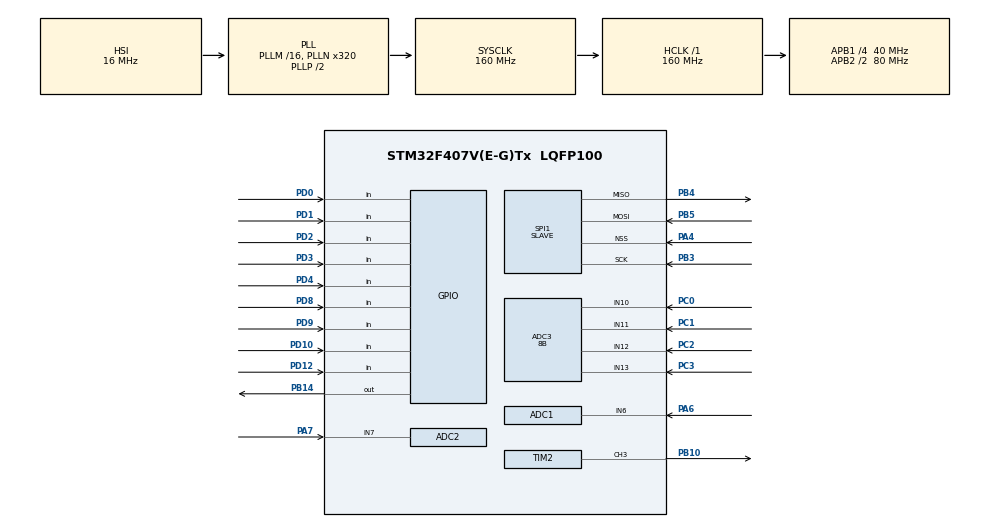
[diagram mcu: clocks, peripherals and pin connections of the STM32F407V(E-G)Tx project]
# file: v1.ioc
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ADC1.Channel-3\#ChannelRegularConversion=ADC_CHANNEL_6
ADC1.ContinuousConvMode=ENABLE
ADC1.EOCSelection=ADC_EOC_SEQ_CONV
ADC1.NbrOfConversionFlag=1
ADC1.Rank-3\#ChannelRegularConversion=1
ADC1.Resolution=ADC_RESOLUTION_8B
ADC1.SamplingTime-3\#ChannelRegularConversion=ADC_SAMPLETIME_3CYCLES
ADC1.master=1
ADC2.Channel-2\#ChannelRegularConversion=ADC_CHANNEL_7
ADC2.ContinuousConvMode=ENABLE
ADC2.EOCSelection=ADC_EOC_SEQ_CONV
ADC2.NbrOfConversionFlag=1
ADC2.Rank-2\#ChannelRegularConversion=1
ADC2.Resolution=ADC_RESOLUTION_8B
ADC2.SamplingTime-2\#ChannelRegularConversion=ADC_SAMPLETIME_3CYCLES
ADC3.Channel-0\#ChannelRegularConversion=ADC_CHANNEL_10
ADC3.Channel-1\#ChannelRegularConversion=ADC_CHANNEL_11
ADC3.Channel-2\#ChannelRegularConversion=ADC_CHANNEL_12
ADC3.Channel-3\#ChannelRegularConversion=ADC_CHANNEL_13
ADC3.ContinuousConvMode=ENABLE
ADC3.DMAContinuousRequests=ENABLE
ADC3.EnableAnalogWatchDog=false
ADC3.InjNumberOfConversion=0
ADC3.NbrOfConversion=4
ADC3.NbrOfConversionFlag=1
ADC3.Rank-0\#ChannelRegularConversion=1
ADC3.Rank-1\#ChannelRegularConversion=2
ADC3.Rank-2\#ChannelRegularConversion=3
ADC3.Rank-3\#ChannelRegularConversion=4
ADC3.Resolution=ADC_RESOLUTION_8B
ADC3.SamplingTime-0\#ChannelRegularConversion=ADC_SAMPLETIME_3CYCLES
ADC3.SamplingTime-1\#ChannelRegularConversion=ADC_SAMPLETIME_3CYCLES
ADC3.SamplingTime-2\#ChannelRegularConversion=ADC_SAMPLETIME_3CYCLES
ADC3.SamplingTime-3\#ChannelRegularConversion=ADC_SAMPLETIME_3CYCLES
ADC3.ScanConvMode=ENABLE
Dma.ADC3.0.Direction=DMA_PERIPH_TO_MEMORY
Dma.ADC3.0.FIFOMode=DMA_FIFOMODE_DISABLE
Dma.ADC3.0.Instance=DMA2_Stream0
Dma.ADC3.0.MemDataAlignment=DMA_MDATAALIGN_BYTE
Dma.ADC3.0.MemInc=DMA_MINC_ENABLE
Dma.ADC3.0.Mode=DMA_CIRCULAR
Dma.ADC3.0.PeriphDataAlignment=DMA_PDATAALIGN_BYTE
Dma.ADC3.0.PeriphInc=DMA_PINC_DISABLE
Dma.ADC3.0.Priority=DMA_PRIORITY_LOW
Dma.Request0=ADC3
Mcu.Family=STM32F4
Mcu.Name=STM32F407V(E-G)Tx
Mcu.Package=LQFP100
NVIC.PriorityGroup=NVIC_PRIORITYGROUP_4
NVIC.TIM2_IRQn=true\:0\:0\:false\:false\:true\:true\:true\:true
PA4.Mode=NSS_Signal_Hard_Input
PA4.Signal=SPI1_NSS
PA6.Signal=ADCx_IN6
PA7.Signal=ADCx_IN7
PB10.GPIO_ModeDefaultPP=GPIO_MODE_AF_PP
PB10.GPIO_PuPd=GPIO_NOPULL
PB10.GPIO_Speed=GPIO_SPEED_FREQ_VERY_HIGH
PB10.Signal=S_TIM2_CH3
PB14.GPIO_PuPd=GPIO_PULLDOWN
PB14.GPIO_Speed=GPIO_SPEED_FREQ_VERY_HIGH
PB14.Signal=GPIO_Output
PB3.GPIO_PuPd=GPIO_PULLDOWN
PB3.Mode=Full_Duplex_Slave
PB3.Signal=SPI1_SCK
PB4.GPIO_PuPd=GPIO_PULLUP
PB4.Mode=Full_Duplex_Slave
PB4.Signal=SPI1_MISO
PB5.GPIO_PuPd=GPIO_PULLDOWN
PB5.Mode=Full_Duplex_Slave
PB5.Signal=SPI1_MOSI
PC0.Signal=ADCx_IN10
PC1.Signal=ADCx_IN11
PC2.Signal=ADCx_IN12
PC3.Signal=ADCx_IN13
PD0.Signal=GPIO_Input
PD1.Signal=GPIO_Input
PD10.Signal=GPIO_Input
PD12.Signal=GPIO_Input
PD2.Signal=GPIO_Input
PD3.Signal=GPIO_Input
PD4.Signal=GPIO_Input
PD8.GPIO_PuPd=GPIO_NOPULL
PD8.Signal=GPIO_Input
PD9.Signal=GPIO_Input
ProjectManager.HeapSize=0x200
ProjectManager.StackSize=0x400
ProjectManager.TargetToolchain=STM32CubeIDE
RCC.48MHZClocksFreq_Value=80000000
RCC.AHBFreq_Value=160000000
RCC.APB1CLKDivider=RCC_HCLK_DIV4
RCC.APB1Freq_Value=40000000
RCC.APB1TimFreq_Value=80000000
RCC.APB2CLKDivider=RCC_HCLK_DIV2
RCC.APB2Freq_Value=80000000
RCC.APB2TimFreq_Value=160000000
RCC.CortexFreq_Value=160000000
RCC.HCLKFreq_Value=160000000
RCC.HSE_VALUE=25000000
RCC.HSI_VALUE=16000000
RCC.LSE_VALUE=32768
RCC.PLLN=320
RCC.SYSCLKFreq_VALUE=160000000
RCC.SYSCLKSource=RCC_SYSCLKSOURCE_PLLCLK
RCC.VCOOutputFreq_Value=320000000
SH.ADCx_IN10.0=ADC3_IN10,IN10
SH.ADCx_IN11.0=ADC3_IN11,IN11
SH.ADCx_IN12.0=ADC3_IN12,IN12
SH.ADCx_IN13.0=ADC3_IN13,IN13
SH.ADCx_IN6.0=ADC1_IN6,IN6
SH.ADCx_IN7.0=ADC2_IN7,IN7
SH.S_TIM2_CH3.0=TIM2_CH3,Output Compare3 CH3
SPI1.CLKPhase=SPI_PHASE_1EDGE
SPI1.CLKPolarity=SPI_POLARITY_LOW
SPI1.DataSize=SPI_DATASIZE_8BIT
SPI1.Direction=SPI_DIRECTION_2LINES
SPI1.Mode=SPI_MODE_SLAVE
SPI1.VirtualNSS=VM_NSSHARD
SPI1.VirtualType=VM_SLAVE
TIM1.AutoReloadPreload=TIM_AUTORELOAD_PRELOAD_DISABLE
TIM1.Period=59999
TIM1.Prescaler=640
TIM2.Channel-Output\ Compare3\ CH3=TIM_CHANNEL_3
TIM2.OCMode_3=TIM_OCMODE_TOGGLE
TIM2.Period=999
TIM2.Prescaler=80
VP_TIM1_VS_ClockSourceINT.Mode=Internal
VP_TIM2_VS_ClockSourceINT.Mode=Internal
board=custom

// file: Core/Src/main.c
/* USER CODE BEGIN Header */
/**
  ******************************************************************************
  * @file           : main.c
  * @brief          : Main program body
  ******************************************************************************
  * @attention
  *
  * Copyright (c) 2025 STMicroelectronics.
  * All rights reserved.
  *
  * This software is licensed under terms that can be found in the LICENSE file
  * in the root directory of this software component.
  * If no LICENSE file comes with this software, it is provided AS-IS.
  *
  ******************************************************************************
  */
/* USER CODE END Header */
#include "main.h"

ADC_HandleTypeDef hadc1;
ADC_HandleTypeDef hadc2;
ADC_HandleTypeDef hadc3;
DMA_HandleTypeDef hdma_adc3;

SPI_HandleTypeDef hspi1;

TIM_HandleTypeDef htim1;
TIM_HandleTypeDef htim2;

void SystemClock_Config(void);
static void MX_GPIO_Init(void);
static void MX_DMA_Init(void);
static void MX_SPI1_Init(void);
static void MX_ADC1_Init(void);
static void MX_ADC2_Init(void);
static void MX_TIM1_Init(void);
static void MX_TIM2_Init(void);
static void MX_ADC3_Init(void);

/* USER CODE BEGIN 0 */

#define SPI_BUFFER_SIZE 0x10000
#define SPI_SYNC_PERIOD 1024

#define SPI_BUFFER_POINTER_MASK 0xFFF0
#define SPI_DATA_SIZE 8

#define IDR_MASK_D ~((uint16_t)1 << 10)

// In SYNC_TEST_MODE the device sends sequential numbers via SPI
// instead of real readings to check SPI connections and post-processing algorithms
// at the receiver side.
// #define SYNC_TEST_MODE

// Ring buffer for SPI communication
volatile uint8_t SpiBuffer[SPI_BUFFER_SIZE];
volatile uint16_t SpiHead = 0;
volatile uint16_t SpiTail = 0;

uint16_t SpiSentCounter = 0;

uint16_t PrevCN = 0;

// Buffer for free-runnning DMA ADC readings
#define ADC3_CH_COUNT 4
volatile uint8_t ADC3Data[ADC3_CH_COUNT] = {0x11, 0x12, 0x13, 0x14};

void SPI1_IRQHandler(void)
{
  // Dumb read to avoid repeated interrupt (may be replaced with
  volatile uint8_t tmp = hspi1.Instance->DR;

  if(SpiHead == SpiTail) {
    // No data to send
    hspi1.Instance->DR = 0;
  } else {
    hspi1.Instance->DR = SpiBuffer[SpiTail++];
    SpiTail &= 0xFFFF;
  }
}

/* USER CODE END 0 */

int main(void)
{

  /* MCU Configuration--------------------------------------------------------*/

  /* Reset of all peripherals, Initializes the Flash interface and the Systick. */
  HAL_Init();

  /* Configure the system clock */
  SystemClock_Config();

  /* Initialize all configured peripherals */
  MX_GPIO_Init();
  MX_DMA_Init();
  MX_SPI1_Init();
  MX_ADC1_Init();
  MX_ADC2_Init();
  MX_TIM1_Init();
  MX_TIM2_Init();
  MX_ADC3_Init();
  /* USER CODE BEGIN 2 */

  //HAL_GPIO_WritePin(GPIOC, 0, 1);

  /* USER CODE END 2 */

  /* Infinite loop */
  /* USER CODE BEGIN WHILE */

  //__enable_irq();
  SET_BIT(hspi1.Instance->CR1, SPI_CR1_SPE);
  SET_BIT(hspi1.Instance->CR2, /*SPI_CR2_RXNEIE*/ SPI_CR2_TXEIE);
  hspi1.Instance->DR = 0;

  /* SPI1 interrupt Init */
  HAL_NVIC_SetPriority(SPI1_IRQn, 0, 0);
  HAL_NVIC_EnableIRQ(SPI1_IRQn);

  HAL_ADC_Start(&hadc1);
  HAL_ADC_Start(&hadc2);
  HAL_ADC_Start_DMA(&hadc3, (uint32_t*)ADC3Data, ADC3_CH_COUNT);

  HAL_TIM_Base_Start(&htim1);
  HAL_TIM_Base_Start(&htim2);
  HAL_TIM_OC_Start(&htim2, TIM_CHANNEL_3);

  //HAL_NVIC_DisableIRQ(DMA2_Stream0_IRQn);

  __enable_irq();

  uint16_t lastCNT = 0;

  uint16_t idrMask = 0xFFFF;
#ifdef SYNC_TEST_MODE
  uint16_t _tmp_cnt = 0;
#endif

  while (1)
  {
    // Buffered output
    uint16_t head = SpiHead;
    uint16_t tail = SpiTail & SPI_BUFFER_POINTER_MASK;

    uint16_t idrD = GPIOD->IDR;
    idrMask &= (idrD | IDR_MASK_D);

    if(
        ((head + SPI_DATA_SIZE) & 0xFFFF) == tail
        // Check free space for Sync packet
        || ((head + 2 * SPI_DATA_SIZE) & 0xFFFF) == tail
    ) {
      // Buffer overflow output signal (for the debug purposes)
      GPIOB->ODR ^= 0x4000;
    } else {
      uint16_t cnt = htim1.Instance->CNT;
      // cnt count period is 4us, so 4x12 = 48us sampling period
      if(cnt != lastCNT && (cnt % 12 == 0)) {
        idrD &= idrMask;

        if(idrMask != 0xFFFF) {
          //GPIOB->ODR ^= 0x4000;
        }

        lastCNT = cnt;
        SpiBuffer[head] = 0xF1;
#ifndef SYNC_TEST_MODE
        SpiBuffer[head + 1] = (idrD & 0x01) | ((idrD >> 7) & 0xFE);
        SpiBuffer[head + 2] = hadc2.Instance->DR;
        SpiBuffer[head + 3] = hadc1.Instance->DR;
        SpiBuffer[head + 4] = ADC3Data[0];
        SpiBuffer[head + 5] = ADC3Data[1];
        SpiBuffer[head + 6] = ADC3Data[2];
        SpiBuffer[head + 7] = ADC3Data[3];
#else
        SpiBuffer[head + 1] = _tmp_cnt >> 16;
        SpiBuffer[head + 2] = _tmp_cnt >> 8;
        SpiBuffer[head + 3] = _tmp_cnt;
        SpiBuffer[head + 4] = 0x00;
        SpiBuffer[head + 5] = _tmp_cnt >> 16;
        SpiBuffer[head + 6] = _tmp_cnt >> 8;
        SpiBuffer[head + 7] = _tmp_cnt;
        ++_tmp_cnt;
#endif
        head += SPI_DATA_SIZE;
        ++SpiSentCounter;

        if(SpiSentCounter == SPI_SYNC_PERIOD) {
          SpiSentCounter = 0;
          for(uint8_t i = 0; i < SPI_DATA_SIZE; ++i) {
        	  SpiBuffer[head + i] = 0x00;
          }
          head += SPI_DATA_SIZE;
        }

        head &= 0xFFFF;
        SpiHead = head;
        idrMask = 0xFFFF;
      }
    }

    // -------------------------------------------------------------

    /* USER CODE END WHILE */

  }
}

void SystemClock_Config(void)
{
  RCC_OscInitTypeDef RCC_OscInitStruct = {0};
  RCC_ClkInitTypeDef RCC_ClkInitStruct = {0};

  /** Configure the main internal regulator output voltage
  */
  __HAL_RCC_PWR_CLK_ENABLE();
  __HAL_PWR_VOLTAGESCALING_CONFIG(PWR_REGULATOR_VOLTAGE_SCALE1);

  /** Initializes the RCC Oscillators according to the specified parameters
  * in the RCC_OscInitTypeDef structure.
  */
  RCC_OscInitStruct.OscillatorType = RCC_OSCILLATORTYPE_HSI;
  RCC_OscInitStruct.HSIState = RCC_HSI_ON;
  RCC_OscInitStruct.HSICalibrationValue = RCC_HSICALIBRATION_DEFAULT;
  RCC_OscInitStruct.PLL.PLLState = RCC_PLL_ON;
  RCC_OscInitStruct.PLL.PLLSource = RCC_PLLSOURCE_HSI;
  RCC_OscInitStruct.PLL.PLLM = 16;
  RCC_OscInitStruct.PLL.PLLN = 320;
  RCC_OscInitStruct.PLL.PLLP = RCC_PLLP_DIV2;
  RCC_OscInitStruct.PLL.PLLQ = 4;
  if (HAL_RCC_OscConfig(&RCC_OscInitStruct) != HAL_OK)
  {
    Error_Handler();
  }

  /** Initializes the CPU, AHB and APB buses clocks
  */
  RCC_ClkInitStruct.ClockType = RCC_CLOCKTYPE_HCLK|RCC_CLOCKTYPE_SYSCLK
                              |RCC_CLOCKTYPE_PCLK1|RCC_CLOCKTYPE_PCLK2;
  RCC_ClkInitStruct.SYSCLKSource = RCC_SYSCLKSOURCE_PLLCLK;
  RCC_ClkInitStruct.AHBCLKDivider = RCC_SYSCLK_DIV1;
  RCC_ClkInitStruct.APB1CLKDivider = RCC_HCLK_DIV4;
  RCC_ClkInitStruct.APB2CLKDivider = RCC_HCLK_DIV2;

  if (HAL_RCC_ClockConfig(&RCC_ClkInitStruct, FLASH_LATENCY_5) != HAL_OK)
  {
    Error_Handler();
  }
}

static void MX_ADC1_Init(void)
{

  ADC_ChannelConfTypeDef sConfig = {0};

  /** Configure the global features of the ADC (Clock, Resolution, Data Alignment and number of conversion)
  */
  hadc1.Instance = ADC1;
  hadc1.Init.ClockPrescaler = ADC_CLOCK_SYNC_PCLK_DIV4;
  hadc1.Init.Resolution = ADC_RESOLUTION_8B;
  hadc1.Init.ScanConvMode = DISABLE;
  hadc1.Init.ContinuousConvMode = ENABLE;
  hadc1.Init.DiscontinuousConvMode = DISABLE;
  hadc1.Init.ExternalTrigConvEdge = ADC_EXTERNALTRIGCONVEDGE_NONE;
  hadc1.Init.ExternalTrigConv = ADC_SOFTWARE_START;
  hadc1.Init.DataAlign = ADC_DATAALIGN_RIGHT;
  hadc1.Init.NbrOfConversion = 1;
  hadc1.Init.DMAContinuousRequests = DISABLE;
  hadc1.Init.EOCSelection = ADC_EOC_SEQ_CONV;
  if (HAL_ADC_Init(&hadc1) != HAL_OK)
  {
    Error_Handler();
  }

  /** Configure for the selected ADC regular channel its corresponding rank in the sequencer and its sample time.
  */
  sConfig.Channel = ADC_CHANNEL_6;
  sConfig.Rank = 1;
  sConfig.SamplingTime = ADC_SAMPLETIME_3CYCLES;
  if (HAL_ADC_ConfigChannel(&hadc1, &sConfig) != HAL_OK)
  {
    Error_Handler();
  }

}

static void MX_ADC2_Init(void)
{

  ADC_ChannelConfTypeDef sConfig = {0};

  /** Configure the global features of the ADC (Clock, Resolution, Data Alignment and number of conversion)
  */
  hadc2.Instance = ADC2;
  hadc2.Init.ClockPrescaler = ADC_CLOCK_SYNC_PCLK_DIV4;
  hadc2.Init.Resolution = ADC_RESOLUTION_8B;
  hadc2.Init.ScanConvMode = DISABLE;
  hadc2.Init.ContinuousConvMode = ENABLE;
  hadc2.Init.DiscontinuousConvMode = DISABLE;
  hadc2.Init.ExternalTrigConvEdge = ADC_EXTERNALTRIGCONVEDGE_NONE;
  hadc2.Init.ExternalTrigConv = ADC_SOFTWARE_START;
  hadc2.Init.DataAlign = ADC_DATAALIGN_RIGHT;
  hadc2.Init.NbrOfConversion = 1;
  hadc2.Init.DMAContinuousRequests = DISABLE;
  hadc2.Init.EOCSelection = ADC_EOC_SEQ_CONV;
  if (HAL_ADC_Init(&hadc2) != HAL_OK)
  {
    Error_Handler();
  }

  /** Configure for the selected ADC regular channel its corresponding rank in the sequencer and its sample time.
  */
  sConfig.Channel = ADC_CHANNEL_7;
  sConfig.Rank = 1;
  sConfig.SamplingTime = ADC_SAMPLETIME_3CYCLES;
  if (HAL_ADC_ConfigChannel(&hadc2, &sConfig) != HAL_OK)
  {
    Error_Handler();
  }

}

static void MX_ADC3_Init(void)
{

  ADC_ChannelConfTypeDef sConfig = {0};

  /** Configure the global features of the ADC (Clock, Resolution, Data Alignment and number of conversion)
  */
  hadc3.Instance = ADC3;
  hadc3.Init.ClockPrescaler = ADC_CLOCK_SYNC_PCLK_DIV4;
  hadc3.Init.Resolution = ADC_RESOLUTION_8B;
  hadc3.Init.ScanConvMode = ENABLE;
  hadc3.Init.ContinuousConvMode = ENABLE;
  hadc3.Init.DiscontinuousConvMode = DISABLE;
  hadc3.Init.ExternalTrigConvEdge = ADC_EXTERNALTRIGCONVEDGE_NONE;
  hadc3.Init.ExternalTrigConv = ADC_SOFTWARE_START;
  hadc3.Init.DataAlign = ADC_DATAALIGN_RIGHT;
  hadc3.Init.NbrOfConversion = 4;
  hadc3.Init.DMAContinuousRequests = ENABLE;
  hadc3.Init.EOCSelection = ADC_EOC_SINGLE_CONV;
  if (HAL_ADC_Init(&hadc3) != HAL_OK)
  {
    Error_Handler();
  }

  /** Configure for the selected ADC regular channel its corresponding rank in the sequencer and its sample time.
  */
  sConfig.Channel = ADC_CHANNEL_10;
  sConfig.Rank = 1;
  sConfig.SamplingTime = ADC_SAMPLETIME_3CYCLES;
  if (HAL_ADC_ConfigChannel(&hadc3, &sConfig) != HAL_OK)
  {
    Error_Handler();
  }

  /** Configure for the selected ADC regular channel its corresponding rank in the sequencer and its sample time.
  */
  sConfig.Channel = ADC_CHANNEL_11;
  sConfig.Rank = 2;
  if (HAL_ADC_ConfigChannel(&hadc3, &sConfig) != HAL_OK)
  {
    Error_Handler();
  }

  /** Configure for the selected ADC regular channel its corresponding rank in the sequencer and its sample time.
  */
  sConfig.Channel = ADC_CHANNEL_12;
  sConfig.Rank = 3;
  if (HAL_ADC_ConfigChannel(&hadc3, &sConfig) != HAL_OK)
  {
    Error_Handler();
  }

  /** Configure for the selected ADC regular channel its corresponding rank in the sequencer and its sample time.
  */
  sConfig.Channel = ADC_CHANNEL_13;
  sConfig.Rank = 4;
  if (HAL_ADC_ConfigChannel(&hadc3, &sConfig) != HAL_OK)
  {
    Error_Handler();
  }

}

static void MX_SPI1_Init(void)
{

  /* USER CODE BEGIN SPI1_Init 1 */
  //hspi1.RxISR = &RxReady;
  /* USER CODE END SPI1_Init 1 */
  /* SPI1 parameter configuration*/
  hspi1.Instance = SPI1;
  hspi1.Init.Mode = SPI_MODE_SLAVE;
  hspi1.Init.Direction = SPI_DIRECTION_2LINES;
  hspi1.Init.DataSize = SPI_DATASIZE_8BIT;
  hspi1.Init.CLKPolarity = SPI_POLARITY_LOW;
  hspi1.Init.CLKPhase = SPI_PHASE_1EDGE;
  hspi1.Init.NSS = SPI_NSS_HARD_INPUT;
  hspi1.Init.FirstBit = SPI_FIRSTBIT_MSB;
  hspi1.Init.TIMode = SPI_TIMODE_DISABLE;
  hspi1.Init.CRCCalculation = SPI_CRCCALCULATION_DISABLE;
  hspi1.Init.CRCPolynomial = 10;
  if (HAL_SPI_Init(&hspi1) != HAL_OK)
  {
    Error_Handler();
  }

}

static void MX_TIM1_Init(void)
{

  TIM_ClockConfigTypeDef sClockSourceConfig = {0};
  TIM_MasterConfigTypeDef sMasterConfig = {0};

  htim1.Instance = TIM1;
  htim1.Init.Prescaler = 640;
  htim1.Init.CounterMode = TIM_COUNTERMODE_UP;
  htim1.Init.Period = 59999;
  htim1.Init.ClockDivision = TIM_CLOCKDIVISION_DIV1;
  htim1.Init.RepetitionCounter = 0;
  htim1.Init.AutoReloadPreload = TIM_AUTORELOAD_PRELOAD_DISABLE;
  if (HAL_TIM_Base_Init(&htim1) != HAL_OK)
  {
    Error_Handler();
  }
  sClockSourceConfig.ClockSource = TIM_CLOCKSOURCE_INTERNAL;
  if (HAL_TIM_ConfigClockSource(&htim1, &sClockSourceConfig) != HAL_OK)
  {
    Error_Handler();
  }
  sMasterConfig.MasterOutputTrigger = TIM_TRGO_RESET;
  sMasterConfig.MasterSlaveMode = TIM_MASTERSLAVEMODE_DISABLE;
  if (HAL_TIMEx_MasterConfigSynchronization(&htim1, &sMasterConfig) != HAL_OK)
  {
    Error_Handler();
  }

}

static void MX_TIM2_Init(void)
{

  TIM_ClockConfigTypeDef sClockSourceConfig = {0};
  TIM_MasterConfigTypeDef sMasterConfig = {0};
  TIM_OC_InitTypeDef sConfigOC = {0};

  htim2.Instance = TIM2;
  htim2.Init.Prescaler = 80;
  htim2.Init.CounterMode = TIM_COUNTERMODE_UP;
  htim2.Init.Period = 999;
  htim2.Init.ClockDivision = TIM_CLOCKDIVISION_DIV1;
  htim2.Init.AutoReloadPreload = TIM_AUTORELOAD_PRELOAD_DISABLE;
  if (HAL_TIM_Base_Init(&htim2) != HAL_OK)
  {
    Error_Handler();
  }
  sClockSourceConfig.ClockSource = TIM_CLOCKSOURCE_INTERNAL;
  if (HAL_TIM_ConfigClockSource(&htim2, &sClockSourceConfig) != HAL_OK)
  {
    Error_Handler();
  }
  if (HAL_TIM_OC_Init(&htim2) != HAL_OK)
  {
    Error_Handler();
  }
  sMasterConfig.MasterOutputTrigger = TIM_TRGO_RESET;
  sMasterConfig.MasterSlaveMode = TIM_MASTERSLAVEMODE_DISABLE;
  if (HAL_TIMEx_MasterConfigSynchronization(&htim2, &sMasterConfig) != HAL_OK)
  {
    Error_Handler();
  }
  sConfigOC.OCMode = TIM_OCMODE_TOGGLE;
  sConfigOC.Pulse = 0;
  sConfigOC.OCPolarity = TIM_OCPOLARITY_HIGH;
  sConfigOC.OCFastMode = TIM_OCFAST_DISABLE;
  if (HAL_TIM_OC_ConfigChannel(&htim2, &sConfigOC, TIM_CHANNEL_3) != HAL_OK)
  {
    Error_Handler();
  }
  HAL_TIM_MspPostInit(&htim2);

}

static void MX_DMA_Init(void)
{

  /* DMA controller clock enable */
  __HAL_RCC_DMA2_CLK_ENABLE();

}

static void MX_GPIO_Init(void)
{
  GPIO_InitTypeDef GPIO_InitStruct = {0};

  /* GPIO Ports Clock Enable */
  __HAL_RCC_GPIOC_CLK_ENABLE();
  __HAL_RCC_GPIOA_CLK_ENABLE();
  __HAL_RCC_GPIOB_CLK_ENABLE();
  __HAL_RCC_GPIOD_CLK_ENABLE();

  /*Configure GPIO pin Output Level */
  HAL_GPIO_WritePin(GPIOB, GPIO_PIN_14, GPIO_PIN_RESET);

  /*Configure GPIO pin : PB14 */
  GPIO_InitStruct.Pin = GPIO_PIN_14;
  GPIO_InitStruct.Mode = GPIO_MODE_OUTPUT_PP;
  GPIO_InitStruct.Pull = GPIO_PULLDOWN;
  GPIO_InitStruct.Speed = GPIO_SPEED_FREQ_VERY_HIGH;
  HAL_GPIO_Init(GPIOB, &GPIO_InitStruct);

  /*Configure GPIO pins : PD8 PD9 PD10 PD12
                           PD0 PD1 PD2 PD3
                           PD4 */
  GPIO_InitStruct.Pin = GPIO_PIN_8|GPIO_PIN_9|GPIO_PIN_10|GPIO_PIN_12
                          |GPIO_PIN_0|GPIO_PIN_1|GPIO_PIN_2|GPIO_PIN_3
                          |GPIO_PIN_4;
  GPIO_InitStruct.Mode = GPIO_MODE_INPUT;
  GPIO_InitStruct.Pull = GPIO_NOPULL;
  HAL_GPIO_Init(GPIOD, &GPIO_InitStruct);

}

void Error_Handler(void)
{
  __disable_irq();
  while (1)
  {
  }
}
